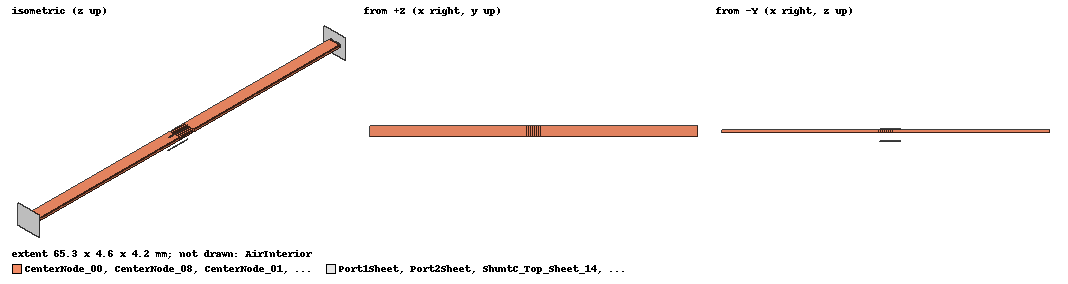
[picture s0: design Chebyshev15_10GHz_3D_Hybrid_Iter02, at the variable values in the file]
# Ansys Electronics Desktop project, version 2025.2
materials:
  vacuum: permittivity=1
  air: permittivity=1.0006 permeability=1.0000004
  copper: permeability=0.999991 conductivity=58000000
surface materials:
  Steel-oxidised-surface

design Chebyshev15_10GHz_3D_Hybrid_Iter02 (HFSS, HFSS Modal Network, model units mm)
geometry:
  AirInterior [air] = box(corner=(0mm, -2.3mm, -2.1mm), size=(65.3mm, 4.6mm, 4.2mm))
  CenterNode_00 [copper] = box(corner=(0mm, -1.1mm, -0.25mm), size=(31.2mm, 2.2mm, 0.5mm))
  CenterNode_01 [copper] = box(corner=(31.3mm, -1.1mm, -0.25mm), size=(0.3mm, 2.2mm, 0.5mm))
  CenterNode_02 [copper] = box(corner=(31.7mm, -1.1mm, -0.25mm), size=(0.3mm, 2.2mm, 0.5mm))
  CenterNode_03 [copper] = box(corner=(32.1mm, -1.1mm, -0.25mm), size=(0.3mm, 2.2mm, 0.5mm))
  CenterNode_04 [copper] = box(corner=(32.5mm, -1.1mm, -0.25mm), size=(0.3mm, 2.2mm, 0.5mm))
  CenterNode_05 [copper] = box(corner=(32.9mm, -1.1mm, -0.25mm), size=(0.3mm, 2.2mm, 0.5mm))
  CenterNode_06 [copper] = box(corner=(33.3mm, -1.1mm, -0.25mm), size=(0.3mm, 2.2mm, 0.5mm))
  CenterNode_07 [copper] = box(corner=(33.7mm, -1.1mm, -0.25mm), size=(0.3mm, 2.2mm, 0.5mm))
  CenterNode_08 [copper] = box(corner=(34.1mm, -1.1mm, -0.25mm), size=(31.2mm, 2.2mm, 0.5mm))
  CenterNode_00_1 = CenterNode_00.copy()
  CenterNode_01_1 = CenterNode_01.copy()
  CenterNode_02_1 = CenterNode_02.copy()
  CenterNode_03_1 = CenterNode_03.copy()
  CenterNode_04_1 = CenterNode_04.copy()
  CenterNode_05_1 = CenterNode_05.copy()
  CenterNode_06_1 = CenterNode_06.copy()
  CenterNode_07_1 = CenterNode_07.copy()
  CenterNode_08_1 = CenterNode_08.copy()
  AirInterior.subtract(CenterNode_00_1, CenterNode_01_1, CenterNode_02_1, CenterNode_03_1, CenterNode_04_1, CenterNode_05_1, CenterNode_06_1, CenterNode_07_1, CenterNode_08_1)
  SeriesL_Sheet_01 = rectangle(corner=(31.2mm, -1.1mm, 0mm), x_size=0.1mm, y_size=2.2mm)
  SeriesL_Sheet_02 = rectangle(corner=(31.6mm, -1.1mm, 0mm), x_size=0.1mm, y_size=2.2mm)
  SeriesL_Sheet_03 = rectangle(corner=(32mm, -1.1mm, 0mm), x_size=0.1mm, y_size=2.2mm)
  SeriesL_Sheet_04 = rectangle(corner=(32.4mm, -1.1mm, 0mm), x_size=0.1mm, y_size=2.2mm)
  SeriesL_Sheet_05 = rectangle(corner=(32.8mm, -1.1mm, 0mm), x_size=0.1mm, y_size=2.2mm)
  SeriesL_Sheet_06 = rectangle(corner=(33.2mm, -1.1mm, 0mm), x_size=0.1mm, y_size=2.2mm)
  SeriesL_Sheet_07 = rectangle(corner=(33.6mm, -1.1mm, 0mm), x_size=0.1mm, y_size=2.2mm)
  SeriesL_Sheet_08 = rectangle(corner=(34mm, -1.1mm, 0mm), x_size=0.1mm, y_size=2.2mm)
  ShuntC_Top_Sheet_02 = rectangle(corner=(31.375mm, 0mm, 0.25mm), z_size=0.15mm, x_size=1.85mm)
  ShuntC_Bottom_Sheet_02 = rectangle(corner=(31.375mm, 0mm, -2.1mm), z_size=0.15mm, x_size=1.85mm)
  ShuntC_Top_Sheet_04 = rectangle(corner=(31.775mm, 0mm, 0.25mm), z_size=0.15mm, x_size=1.85mm)
  ShuntC_Bottom_Sheet_04 = rectangle(corner=(31.775mm, 0mm, -2.1mm), z_size=0.15mm, x_size=1.85mm)
  ShuntC_Top_Sheet_06 = rectangle(corner=(32.175mm, 0mm, 0.25mm), z_size=0.15mm, x_size=1.85mm)
  ShuntC_Bottom_Sheet_06 = rectangle(corner=(32.175mm, 0mm, -2.1mm), z_size=0.15mm, x_size=1.85mm)
  ShuntC_Top_Sheet_08 = rectangle(corner=(32.575mm, 0mm, 0.25mm), z_size=0.15mm, x_size=1.85mm)
  ShuntC_Bottom_Sheet_08 = rectangle(corner=(32.575mm, 0mm, -2.1mm), z_size=0.15mm, x_size=1.85mm)
  ShuntC_Top_Sheet_10 = rectangle(corner=(32.975mm, 0mm, 0.25mm), z_size=0.15mm, x_size=1.85mm)
  ShuntC_Bottom_Sheet_10 = rectangle(corner=(32.975mm, 0mm, -2.1mm), z_size=0.15mm, x_size=1.85mm)
  ShuntC_Top_Sheet_12 = rectangle(corner=(33.375mm, 0mm, 0.25mm), z_size=0.15mm, x_size=1.85mm)
  ShuntC_Bottom_Sheet_12 = rectangle(corner=(33.375mm, 0mm, -2.1mm), z_size=0.15mm, x_size=1.85mm)
  ShuntC_Top_Sheet_14 = rectangle(corner=(33.775mm, 0mm, 0.25mm), z_size=0.15mm, x_size=1.85mm)
  ShuntC_Bottom_Sheet_14 = rectangle(corner=(33.775mm, 0mm, -2.1mm), z_size=0.15mm, x_size=1.85mm)
  Port1Sheet = rectangle(corner=(0mm, -2.3mm, -2.1mm), y_size=4.6mm, z_size=4.2mm)
  Port2Sheet = rectangle(corner=(65.3mm, -2.3mm, -2.1mm), y_size=4.6mm, z_size=4.2mm)
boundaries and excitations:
  ShieldWalls_PEC: Perfect E Faces=AirInterior.face(+z, -y, +y, -z)
  SeriesL_01: Lumped RLC Objects=SeriesL_Sheet_01 CurrentLine{(31.3, 0, 0) -> (31.2, 0, 0)} RLC_Type=Serial Inductance=9.7708053e-10H
  SeriesL_03: Lumped RLC Objects=SeriesL_Sheet_02 CurrentLine{(31.7, 0, 0) -> (31.6, 0, 0)} RLC_Type=Serial Inductance=1.7488972e-09H
  SeriesL_05: Lumped RLC Objects=SeriesL_Sheet_03 CurrentLine{(32.1, 0, 0) -> (32, 0, 0)} RLC_Type=Serial Inductance=1.8246038e-09H
  SeriesL_07: Lumped RLC Objects=SeriesL_Sheet_04 CurrentLine{(32.5, 0, 0) -> (32.4, 0, 0)} RLC_Type=Serial Inductance=1.8412488e-09H
  SeriesL_09: Lumped RLC Objects=SeriesL_Sheet_05 CurrentLine{(32.9, 0, 0) -> (32.8, 0, 0)} RLC_Type=Serial Inductance=1.8412488e-09H
  SeriesL_11: Lumped RLC Objects=SeriesL_Sheet_06 CurrentLine{(33.3, 0, 0) -> (33.2, 0, 0)} RLC_Type=Serial Inductance=1.8246038e-09H
  SeriesL_13: Lumped RLC Objects=SeriesL_Sheet_07 CurrentLine{(33.7, 0, 0) -> (33.6, 0, 0)} RLC_Type=Serial Inductance=1.7488972e-09H
  SeriesL_15: Lumped RLC Objects=SeriesL_Sheet_08 CurrentLine{(34.1, 0, 0) -> (34, 0, 0)} RLC_Type=Serial Inductance=9.7708053e-10H
  ShuntC_02_Top: Lumped RLC Objects=ShuntC_Top_Sheet_02 CurrentLine{(32.3, 0, 0.4) -> (32.3, 0, 0.25)} RLC_Type=Serial Capacitance=2.3595763e-13f
  ShuntC_02_Bottom: Lumped RLC Objects=ShuntC_Bottom_Sheet_02 CurrentLine{(32.3, 0, -1.95) -> (32.3, 0, -2.1)} RLC_Type=Serial Capacitance=2.3595763e-13f
  ShuntC_04_Top: Lumped RLC Objects=ShuntC_Top_Sheet_04 CurrentLine{(32.7, 0, 0.4) -> (32.7, 0, 0.25)} RLC_Type=Serial Capacitance=2.6582738e-13f
  ShuntC_04_Bottom: Lumped RLC Objects=ShuntC_Bottom_Sheet_04 CurrentLine{(32.7, 0, -1.95) -> (32.7, 0, -2.1)} RLC_Type=Serial Capacitance=2.6582738e-13f
  ShuntC_06_Top: Lumped RLC Objects=ShuntC_Top_Sheet_06 CurrentLine{(33.1, 0, 0.4) -> (33.1, 0, 0.25)} RLC_Type=Serial Capacitance=2.7090394e-13f
  ShuntC_06_Bottom: Lumped RLC Objects=ShuntC_Bottom_Sheet_06 CurrentLine{(33.1, 0, -1.95) -> (33.1, 0, -2.1)} RLC_Type=Serial Capacitance=2.7090394e-13f
  ShuntC_08_Top: Lumped RLC Objects=ShuntC_Top_Sheet_08 CurrentLine{(33.5, 0, 0.4) -> (33.5, 0, 0.25)} RLC_Type=Serial Capacitance=2.7192981e-13f
  ShuntC_08_Bottom: Lumped RLC Objects=ShuntC_Bottom_Sheet_08 CurrentLine{(33.5, 0, -1.95) -> (33.5, 0, -2.1)} RLC_Type=Serial Capacitance=2.7192981e-13f
  ShuntC_10_Top: Lumped RLC Objects=ShuntC_Top_Sheet_10 CurrentLine{(33.9, 0, 0.4) -> (33.9, 0, 0.25)} RLC_Type=Serial Capacitance=2.7090394e-13f
  ShuntC_10_Bottom: Lumped RLC Objects=ShuntC_Bottom_Sheet_10 CurrentLine{(33.9, 0, -1.95) -> (33.9, 0, -2.1)} RLC_Type=Serial Capacitance=2.7090394e-13f
  ShuntC_12_Top: Lumped RLC Objects=ShuntC_Top_Sheet_12 CurrentLine{(34.3, 0, 0.4) -> (34.3, 0, 0.25)} RLC_Type=Serial Capacitance=2.6582738e-13f
  ShuntC_12_Bottom: Lumped RLC Objects=ShuntC_Bottom_Sheet_12 CurrentLine{(34.3, 0, -1.95) -> (34.3, 0, -2.1)} RLC_Type=Serial Capacitance=2.6582738e-13f
  ShuntC_14_Top: Lumped RLC Objects=ShuntC_Top_Sheet_14 CurrentLine{(34.7, 0, 0.4) -> (34.7, 0, 0.25)} RLC_Type=Serial Capacitance=2.3595763e-13f
  ShuntC_14_Bottom: Lumped RLC Objects=ShuntC_Bottom_Sheet_14 CurrentLine{(34.7, 0, -1.95) -> (34.7, 0, -2.1)} RLC_Type=Serial Capacitance=2.3595763e-13f
  Port1: Wave Port Objects=Port1Sheet WavePortType=Modal NumModes=1 Modes{Mode1{CharImp=Zpi RenormImp=50ohm}}
  Port2: Wave Port Objects=Port2Sheet WavePortType=Modal NumModes=1 Modes{Mode1{CharImp=Zpi RenormImp=50ohm}}
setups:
  Setup1: HfssDriven Frequency=10GHz MaxDeltaS=0.02 MaximumPasses=12 MinimumPasses=3 MinimumConvergedPasses=2 PercentRefinement=30 BasisOrder=1 PortAccuracy=2 DrivenSolverType="Direct Solver"
    sweep Sweep1: 0.1GHz to 30GHz, 600 points; Type=Interpolating InterpTolerance=0.5 InterpMaxSolns=250 InterpUsePortImped=false PassivityErrorTolerance=0.0001
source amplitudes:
  Port1:1: 1W 0deg
  Port2:1: 0W 0deg
